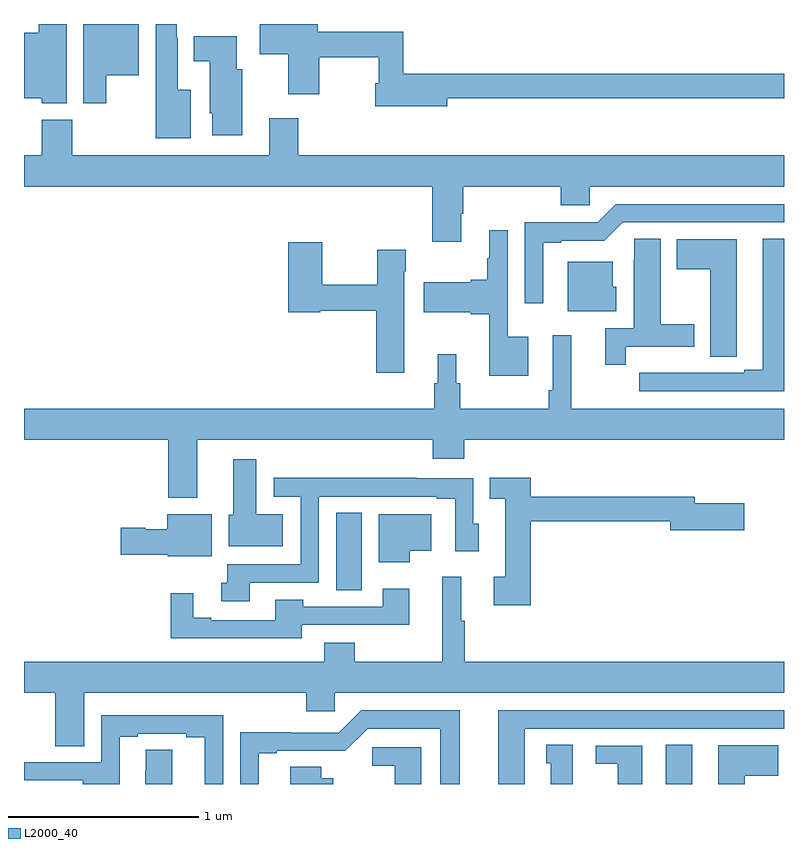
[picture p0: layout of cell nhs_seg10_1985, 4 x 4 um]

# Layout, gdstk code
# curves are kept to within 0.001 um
import gdstk
lib = gdstk.Library(unit=1e-6, precision=1e-09)
def R(c, l, rs):  # rectangles x0, y0, x1, y1
    for r in rs: c.add(gdstk.rectangle(r[:2], r[2:], *l))
def P(c, l, *ps):  # polygons
    for p in ps: c.add(gdstk.Polygon(p, *l))
L2000_40 = (2000, 40)

nhs_seg10_1985 = lib.new_cell('nhs_seg10_1985')
R(nhs_seg10_1985, L2000_40, [(218.378,1302.5,218.518,1302.707), (216.644,1303.519,216.778,1303.928)])
P(nhs_seg10_1985, L2000_40, [(215.224,1306.5),(215.078,1306.5),(215.078,1306.453),(215,1306.453),(215,1306.109),(215.094,1306.109),(215.094,1306.082),(215.224,1306.082)],
  [(215.434,1306.229),(215.605,1306.229),(215.605,1306.5),(215.312,1306.5),(215.312,1306.083),(215.434,1306.083)],
  [(217.228,1306.11),(219,1306.11),(219,1306.238),(216.995,1306.238),(216.995,1306.46),(216.547,1306.46),(216.547,1306.5),(216.24,1306.5),(216.24,1306.342),(216.392,1306.342),(216.392,1306.131),(216.555,1306.131),(216.555,1306.324),(216.867,1306.324),(216.867,1306.189),(216.848,1306.189),(216.848,1306.067),(217.228,1306.067)],
  [(215.878,1306.153),(215.809,1306.153),(215.809,1306.427),(215.805,1306.427),(215.805,1306.5),(215.693,1306.5),(215.693,1305.899),(215.878,1305.899)],
  [(216.148,1306.263),(216.121,1306.263),(216.121,1306.435),(215.894,1306.435),(215.894,1306.304),(215.978,1306.304),(215.978,1306.029),(215.99,1306.029),(215.99,1305.915),(216.148,1305.915)],
  [(217.3,1305.502),(217.313,1305.502),(217.313,1305.644),(217.826,1305.644),(217.826,1305.546),(217.977,1305.546),(217.977,1305.644),(219,1305.644),(219,1305.808),(216.443,1305.808),(216.443,1306.003),(216.29,1306.003),(216.29,1305.808),(215.253,1305.808),(215.253,1305.997),(215.093,1305.997),(215.093,1305.808),(215,1305.808),(215,1305.644),(217.148,1305.644),(217.148,1305.354),(217.3,1305.354)],
  [(217.732,1305.348),(217.828,1305.348),(217.828,1305.36),(218.055,1305.36),(218.151,1305.456),(219,1305.456),(219,1305.552),(218.115,1305.552),(218.019,1305.456),(217.635,1305.456),(217.635,1305.03),(217.732,1305.03)],
  [(217.654,1304.854),(217.545,1304.854),(217.545,1305.415),(217.448,1305.415),(217.448,1305.266),(217.437,1305.266),(217.437,1305.155),(217.352,1305.155),(217.352,1305.142),(217.104,1305.142),(217.104,1304.984),(217.352,1304.984),(217.352,1304.972),(217.448,1304.972),(217.448,1304.648),(217.654,1304.648)],
  [(218.168,1304.802),(218.527,1304.802),(218.527,1304.919),(218.35,1304.919),(218.35,1305.371),(218.211,1305.371),(218.211,1305.26),(218.21,1305.26),(218.21,1304.898),(218.06,1304.898),(218.06,1304.706),(218.168,1304.706)],
  [(219,1305.371),(218.888,1305.371),(218.888,1304.679),(218.792,1304.679),(218.792,1304.664),(218.516,1304.664),(218.516,1304.665),(218.35,1304.665),(218.35,1304.664),(218.238,1304.664),(218.238,1304.568),(219,1304.568)],
  [(218.751,1304.857),(218.752,1304.857),(218.752,1305.367),(218.435,1305.367),(218.435,1305.208),(218.612,1305.208),(218.612,1304.749),(218.751,1304.749)],
  [(217,1305.2),(217.008,1305.2),(217.008,1305.313),(216.859,1305.313),(216.859,1305.128),(216.57,1305.128),(216.57,1305.352),(216.392,1305.352),(216.392,1304.984),(216.558,1304.984),(216.558,1304.992),(216.854,1304.992),(216.854,1304.664),(217,1304.664)],
  [(218.116,1305.117),(218.098,1305.117),(218.098,1305.25),(217.862,1305.25),(217.862,1304.987),(218.116,1304.987)],
  [(215.911,1304.312),(217.151,1304.312),(217.151,1304.213),(217.316,1304.213),(217.316,1304.312),(219,1304.312),(219,1304.476),(217.88,1304.476),(217.88,1304.863),(217.782,1304.863),(217.782,1304.572),(217.762,1304.572),(217.762,1304.476),(217.295,1304.476),(217.295,1304.61),(217.276,1304.61),(217.276,1304.761),(217.178,1304.761),(217.178,1304.61),(217.159,1304.61),(217.159,1304.476),(215,1304.476),(215,1304.312),(215.759,1304.312),(215.759,1304.007),(215.911,1304.007)],
  [(216.361,1303.921),(216.223,1303.921),(216.223,1304.209),(216.101,1304.209),(216.101,1303.917),(216.077,1303.917),(216.077,1303.751),(216.361,1303.751)],
  [(217.667,1303.882),(218.402,1303.882),(218.402,1303.835),(218.791,1303.835),(218.791,1303.977),(218.53,1303.977),(218.53,1304.011),(217.667,1304.011),(217.667,1304.111),(217.45,1304.111),(217.45,1304.001),(217.532,1304.001),(217.532,1303.59),(217.473,1303.59),(217.473,1303.442),(217.667,1303.442)],
  [(216.187,1303.56),(216.552,1303.56),(216.552,1304.013),(217.172,1304.013),(217.172,1304.001),(217.269,1304.001),(217.269,1303.725),(217.393,1303.725),(217.393,1303.869),(217.365,1303.869),(217.365,1304.109),(217.067,1304.109),(217.067,1304.111),(216.315,1304.111),(216.315,1304.013),(216.456,1304.013),(216.456,1303.656),(216.07,1303.656),(216.07,1303.559),(216.039,1303.559),(216.039,1303.461),(216.187,1303.461)],
  [(217.03,1303.727),(217.144,1303.727),(217.144,1303.921),(216.866,1303.921),(216.866,1303.667),(217.03,1303.667)],
  [(215.989,1303.921),(215.753,1303.921),(215.753,1303.84),(215.639,1303.84),(215.639,1303.848),(215.508,1303.848),(215.508,1303.706),(215.757,1303.706),(215.757,1303.7),(215.989,1303.7)],
  [(215.317,1302.98),(216.485,1302.98),(216.485,1302.882),(216.636,1302.882),(216.636,1302.98),(219,1302.98),(219,1303.144),(217.319,1303.144),(217.319,1303.359),(217.3,1303.359),(217.3,1303.591),(217.202,1303.591),(217.202,1303.144),(216.741,1303.144),(216.741,1303.243),(216.581,1303.243),(216.581,1303.144),(215,1303.144),(215,1302.98),(215.165,1302.98),(215.165,1302.7),(215.317,1302.7)],
  [(216.463,1303.338),(217.027,1303.338),(217.027,1303.528),(216.887,1303.528),(216.887,1303.434),(216.471,1303.434),(216.471,1303.471),(216.323,1303.471),(216.323,1303.362),(215.986,1303.362),(215.986,1303.375),(215.89,1303.375),(215.89,1303.504),(215.773,1303.504),(215.773,1303.266),(216.463,1303.266)],
  [(217.636,1302.792),(219,1302.792),(219,1302.888),(217.496,1302.888),(217.496,1302.5),(217.636,1302.5)],
  [(216.235,1302.663),(216.331,1302.663),(216.331,1302.675),(216.692,1302.674),(216.81,1302.792),(217.19,1302.792),(217.19,1302.5),(217.294,1302.5),(217.294,1302.888),(216.774,1302.888),(216.657,1302.771),(216.401,1302.771),(216.401,1302.773),(216.138,1302.773),(216.138,1302.5),(216.235,1302.5)],
  [(215.503,1302.75),(215.599,1302.75),(215.599,1302.765),(215.855,1302.765),(215.855,1302.745),(215.951,1302.745),(215.951,1302.5),(216.048,1302.5),(216.048,1302.861),(215.406,1302.861),(215.406,1302.615),(215,1302.615),(215,1302.519),(215.309,1302.519),(215.309,1302.518),(215.31,1302.518),(215.31,1302.5),(215.503,1302.5)],
  [(217.888,1302.707),(217.748,1302.707),(217.748,1302.609),(217.772,1302.609),(217.772,1302.5),(217.888,1302.5)],
  [(218.794,1302.544),(218.971,1302.544),(218.971,1302.703),(218.654,1302.703),(218.654,1302.5),(218.794,1302.5)],
  [(218.254,1302.702),(218.01,1302.702),(218.01,1302.606),(218.126,1302.606),(218.126,1302.5),(218.254,1302.5)],
  [(217.09,1302.693),(216.834,1302.693),(216.834,1302.596),(216.95,1302.596),(216.95,1302.5),(217.09,1302.5)],
  [(215.779,1302.68),(215.64,1302.68),(215.64,1302.572),(215.639,1302.572),(215.639,1302.5),(215.779,1302.5)],
  [(216.628,1302.529),(216.565,1302.529),(216.565,1302.59),(216.401,1302.59),(216.401,1302.5),(216.628,1302.5)])

lib.write_gds('nhs_seg10_1985.gds')
